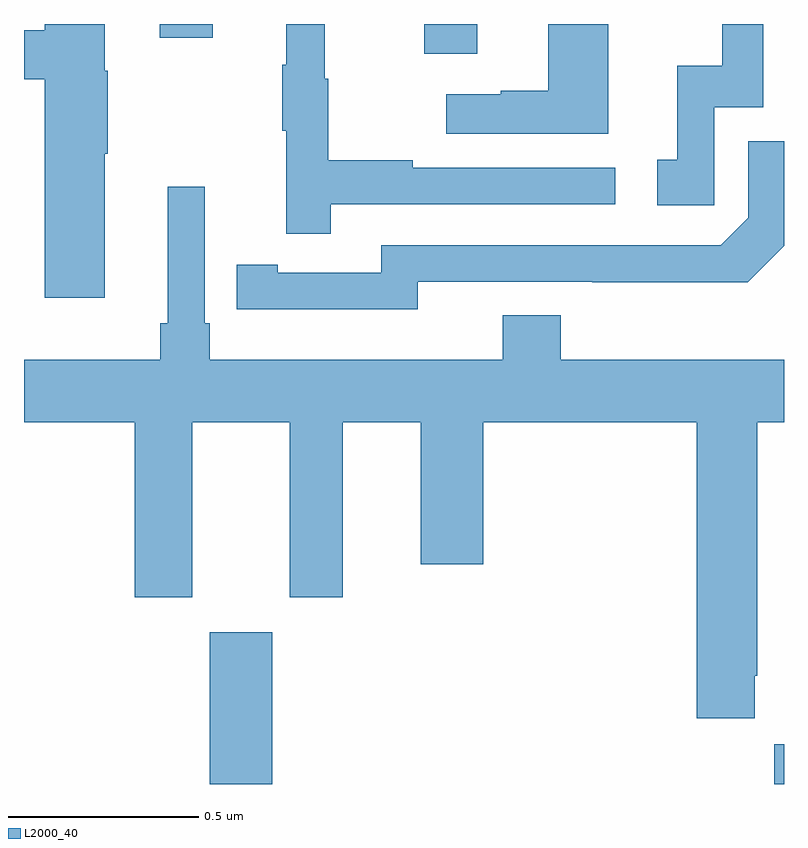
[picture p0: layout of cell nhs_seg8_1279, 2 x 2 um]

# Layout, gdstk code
import gdstk
lib = gdstk.Library(unit=1e-6, precision=1e-09)
def R(c, l, rs):  # rectangles x0, y0, x1, y1
    for r in rs: c.add(gdstk.rectangle(r[:2], r[2:], *l))
def P(c, l, *ps):  # polygons
    for p in ps: c.add(gdstk.Polygon(p, *l))
L2000_40 = (2000, 40)

nhs_seg8_1279 = lib.new_cell('nhs_seg8_1279')
R(nhs_seg8_1279, L2000_40, [(128.489,1096.9,128.653,1097.299), (129.974,1096.9,130,1097.005), (129.053,1098.822,129.193,1098.9), (128.357,1098.864,128.497,1098.9)])
P(nhs_seg8_1279, L2000_40, [(129.538,1098.9),(129.38,1098.9),(129.38,1098.725),(129.254,1098.725),(129.254,1098.715),(129.111,1098.715),(129.111,1098.611),(129.538,1098.611)],
  [(128.212,1098.559),(128.22,1098.559),(128.22,1098.777),(128.212,1098.777),(128.212,1098.9),(128.054,1098.9),(128.054,1098.883),(128,1098.883),(128,1098.754),(128.054,1098.754),(128.054,1098.18),(128.212,1098.18)],
  [(128.807,1098.426),(129.556,1098.426),(129.556,1098.522),(129.023,1098.522),(129.023,1098.542),(128.8,1098.542),(128.8,1098.756),(128.792,1098.756),(128.792,1098.9),(128.69,1098.9),(128.69,1098.793),(128.679,1098.793),(128.679,1098.619),(128.69,1098.619),(128.69,1098.348),(128.807,1098.348)],
  [(129.816,1098.681),(129.945,1098.681),(129.945,1098.9),(129.837,1098.9),(129.837,1098.79),(129.719,1098.79),(129.719,1098.543),(129.666,1098.543),(129.666,1098.423),(129.816,1098.423)],
  [(129.036,1098.222),(129.496,1098.222),(129.496,1098.221),(129.904,1098.221),(130,1098.316),(130,1098.591),(129.906,1098.591),(129.906,1098.39),(129.834,1098.318),(128.94,1098.318),(128.94,1098.246),(128.668,1098.246),(128.668,1098.266),(128.56,1098.266),(128.56,1098.15),(128.668,1098.15),(128.668,1098.149),(129.036,1098.149)],
  [(129.923,1097.185),(129.93,1097.185),(129.93,1097.852),(130,1097.852),(130,1098.016),(129.413,1098.016),(129.413,1098.133),(129.26,1098.133),(129.26,1098.016),(128.489,1098.016),(128.489,1098.112),(128.475,1098.112),(128.475,1098.472),(128.378,1098.472),(128.378,1098.112),(128.359,1098.112),(128.359,1098.016),(128,1098.016),(128,1097.852),(128.291,1097.852),(128.291,1097.391),(128.443,1097.391),(128.443,1097.852),(128.699,1097.852),(128.699,1097.391),(128.839,1097.391),(128.839,1097.852),(129.044,1097.852),(129.044,1097.478),(129.208,1097.478),(129.208,1097.852),(129.77,1097.852),(129.77,1097.073),(129.923,1097.073)])

lib.write_gds('nhs_seg8_1279.gds')
